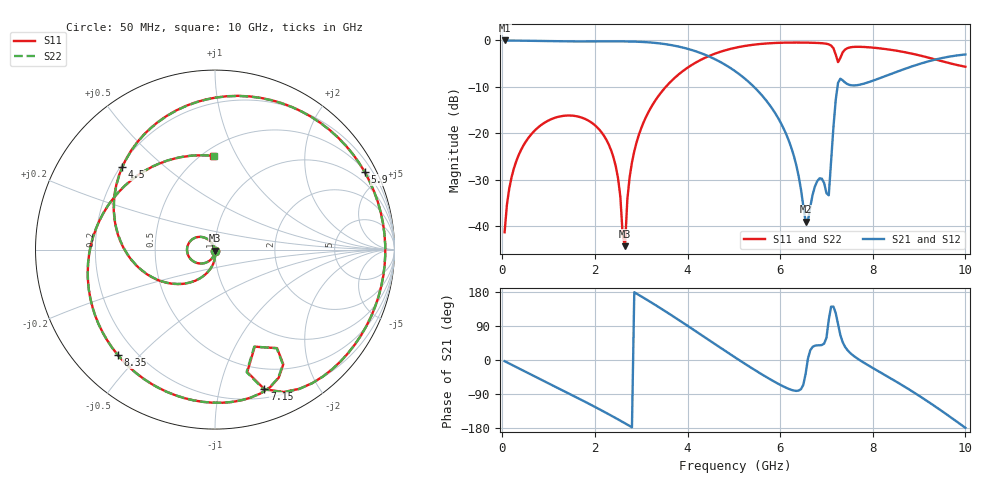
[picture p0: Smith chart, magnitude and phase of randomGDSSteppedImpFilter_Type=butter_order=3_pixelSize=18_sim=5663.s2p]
! freq	dB(S11)	phase(S11)	dB(S12)	phase(S12)
!  dB(S21)	phase(S21)	dB(S22)	phase(S22)
!S-par simulation data
#  GHz  S  DB  R 50
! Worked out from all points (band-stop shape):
!   200 points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, 50 MHz to 10 GHz, reference 50 ohm
!   highest |S21| = -0.01 dB at 50 MHz (marker M1); lowest = -39.0 dB at 6.55 GHz (marker M2)
!   |S21| within 3 dB of the highest: start of sweep to 4.36 GHz
!   lowest |S11| = -44.2 dB at 2.65 GHz (marker M3), VSWR 1.01, Z = 49.8 - j0.573 ohm
!   |S11| at or under -10 dB: start of sweep to 3.529 GHz
!   |S22| runs from -44.3 to -0.5 dB; largest |S21 - S12| = 0
!   S11 on the Smith chart (normalised r, x): 50 MHz: 1.00, -0.02; 4.5 GHz: 0.21, +0.37; 5.9 GHz: 0.55, +4.03; 7.15 GHz: 0.28, -1.38; 8.35 GHz: 0.13, -0.43; 10 GHz: 0.56, +0.81
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0.05  -41.24 -91.9  -0.01 -3.1  -0.01 -3.1  -41.24 -91.9
0.2  -29.42 -102.1  -0.03 -12.4  -0.03 -12.4  -29.42 -102.2
0.55  -21.14 -124.5  -0.08 -34.0  -0.08 -34.0  -21.14 -124.5
1.75  -16.72 161.5  -0.22 -107.8  -0.22 -107.8  -16.72 161.4
2.4  -25.12 120.8  -0.20 -149.9  -0.20 -149.9  -25.12 120.5
2.65  -44.23 -110.6  -0.21 -167.0  -0.21 -167.0  -44.30 -109.7
2.85  -23.82 -94.1  -0.25 178.9  -0.25 178.9  -23.82 -94.2
3.4  -11.56 -133.6  -0.64 137.9  -0.64 137.9  -11.57 -133.8
3.9  -6.58 -172.8  -1.53 98.4  -1.53 98.4  -6.58 -173.1
4.5  -3.20 138.3  -3.60 49.6  -3.60 49.6  -3.20 138.1
5.05  -1.54 93.5  -6.77 5.0  -6.77 5.0  -1.54 93.2
5.9  -0.54 27.4  -15.75 -58.9  -15.75 -58.9  -0.54 27.1
6.3  -0.45 -1.7  -24.97 -80.7  -24.97 -80.7  -0.46 -2.0
6.55  -0.47 -19.6  -38.97 -36.4  -38.97 -36.4  -0.47 -19.9
6.7  -0.50 -30.3  -33.22 34.6  -33.22 34.6  -0.51 -30.6
7.05  -0.85 -58.7  -33.29 106.5  -33.29 106.5  -0.85 -59.0
7.15  -1.67 -70.5  -18.71 140.9  -18.71 140.9  -1.68 -70.8
7.3  -3.76 -57.8  -8.23 65.8  -8.23 65.8  -3.77 -58.0
7.7  -1.37 -87.5  -9.55 1.2  -9.55 1.2  -1.37 -87.7
8.35  -1.95 -132.8  -7.37 -45.8  -7.37 -45.8  -1.96 -133.0
9.25  -3.82 157.6  -4.36 -114.5  -4.36 -114.5  -3.82 157.3
10  -5.65 91.0  -3.02 -179.0  -3.02 -179.0  -5.64 90.7
